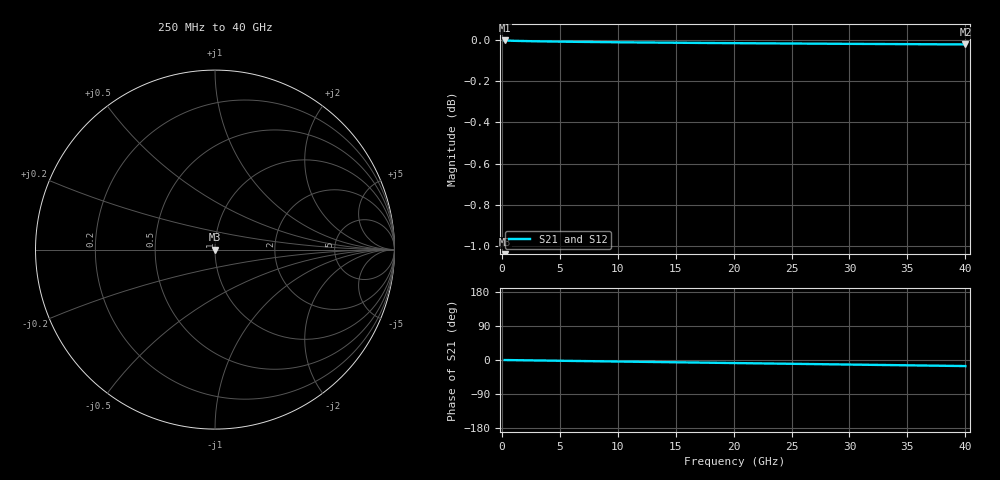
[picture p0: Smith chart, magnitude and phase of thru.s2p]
# GHz S RI R 50
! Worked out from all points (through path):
!   160 points, 250 MHz to 40 GHz, reference 50 ohm
!   highest |S21| = 0.00 dB at 250 MHz (marker M1); lowest = 0.0 dB at 40 GHz (marker M2)
!   group delay of S21, straight-line fit = 1.11 ps
!   lowest |S11| = - dB at 250 MHz (marker M3), VSWR 1.00, Z = 50 + j0 ohm
!   |S11| at or under -10 dB: start of sweep to end of sweep
!   |S22| runs from - to - dB; largest |S21 - S12| = 0
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0.25  0 0  0.9998 -0.00175  0.9998 -0.00175  0 0
4.25  0 0  0.9988 -0.0297  0.9988 -0.0297  0 0
7  0 0  0.9978 -0.0488  0.9978 -0.0488  0 0
10.25  0 0  0.9962 -0.0715  0.9962 -0.0715  0 0
12  0 0  0.9952 -0.0836  0.9952 -0.0836  0 0
13.5  0 0  0.9942 -0.094  0.9942 -0.094  0 0
15.25  0 0  0.9928 -0.1062  0.9928 -0.1062  0 0
17  0 0  0.9914 -0.1183  0.9914 -0.1183  0 0
18.75  0 0  0.9898 -0.1304  0.9898 -0.1304  0 0
20.25  0 0  0.9883 -0.1408  0.9883 -0.1408  0 0
22  0 0  0.9864 -0.1528  0.9864 -0.1528  0 0
23.5  0 0  0.9847 -0.1631  0.9847 -0.1631  0 0
25  0 0  0.9829 -0.1734  0.9829 -0.1734  0 0
26.75  0 0  0.9807 -0.1854  0.9807 -0.1854  0 0
28.25  0 0  0.9786 -0.1957  0.9786 -0.1957  0 0
30  0 0  0.9761 -0.2076  0.9761 -0.2076  0 0
31.75  0 0  0.9734 -0.2195  0.9734 -0.2195  0 0
33.5  0 0  0.9706 -0.2314  0.9706 -0.2314  0 0
35  0 0  0.9681 -0.2415  0.9681 -0.2415  0 0
36.75  0 0  0.965 -0.2533  0.965 -0.2533  0 0
38.25  0 0  0.9622 -0.2634  0.9622 -0.2634  0 0
40  0 0  0.9589 -0.2752  0.9589 -0.2752  0 0
